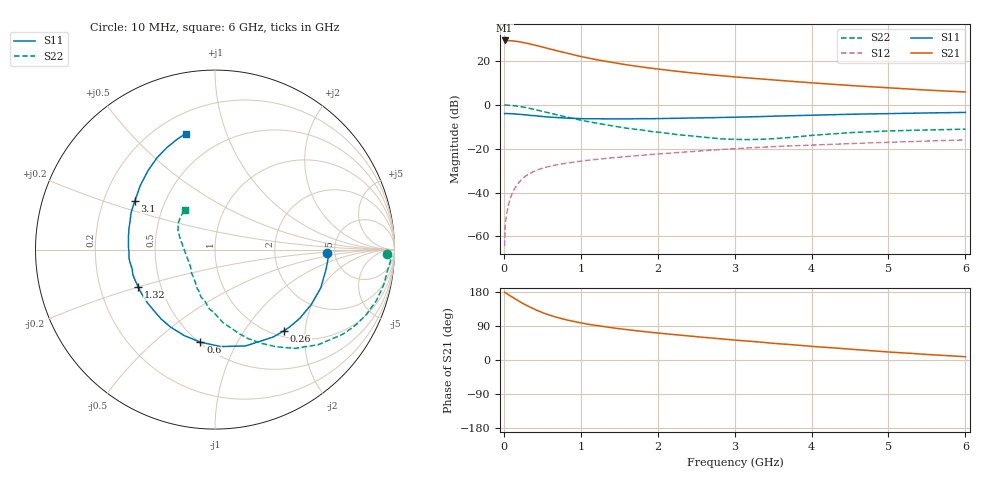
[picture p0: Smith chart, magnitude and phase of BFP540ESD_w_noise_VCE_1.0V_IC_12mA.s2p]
! Infineon Technologies  Discrete & RF Semiconductors
! BFP540ESD
! VCE =  1.0 V,  IC =  12 mA
! Common Emitter S-Parameters:  Nov 2015
# GHz  S  MA  R  50
!  f  S11  S21  S12  S22
! GHz  MAG  ANG  MAG  ANG  MAG  ANG  MAG  ANG
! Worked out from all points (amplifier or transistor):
!   210 points, 10 MHz to 6 GHz, reference 50 ohm
!   highest |S21| = 29.3 dB at 10 MHz (marker M1)
!   |S21| within 3 dB of that: start of sweep to 504.2 MHz
!   unconditionally stable (mu >= 1): start of sweep to 11.18 MHz; 2.517 GHz to end of sweep
!   at 185 MHz: K = 0.13, MSG = 32.3 dB, |S12| = -35.9 dB
!   at 1.52 GHz: K = 0.79, MSG = 21.2 dB, |S12| = -23.8 dB
!   at 6 GHz: K = 1.15, MAG = 8.6 dB, |S12| = -16.0 dB
!   lowest NFmin = 0.93 dB at 900 MHz
!   S11 on the Smith chart (normalised r, x): 10 MHz: 4.33, -0.28; 260 MHz: 1.11, -1.55; 600 MHz: 0.51, -0.72; 1.32 GHz: 0.37, -0.20; 3.1 GHz: 0.34, +0.25; 6 GHz: 0.31, +0.73
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0.01  0.6261 -1.8  29.03 178.5  0.0006 90.4  0.9607 -1.6
0.03  0.6303 -6.3  28.93 176.2  0.0027 84.6  0.9805 -3.4
0.1  0.6268 -20.0  28.59 167.1  0.0089 81.4  0.9601 -11.8
0.15  0.6174 -29.7  28.03 160.8  0.013 78.6  0.9429 -17.6
0.2  0.608 -39.0  27.16 154.7  0.0173 75.5  0.9171 -23.3
0.26  0.5943 -49.5  25.94 147.8  0.0221 71.6  0.8803 -29.6
0.3  0.5847 -56.5  25.14 143.4  0.0248 69.1  0.8532 -33.6
0.4  0.5633 -72.3  22.82 133.6  0.0308 63.1  0.7816 -42.7
0.5  0.5411 -86.7  20.65 124.9  0.0358 58.2  0.7092 -50.9
0.6  0.5219 -99.0  18.48 117.8  0.0397 55.4  0.6408 -57.7
0.7  0.509 -109.6  16.74 111.9  0.0433 52.6  0.5824 -63.7
0.8  0.4976 -119.7  15.09 106.4  0.0461 51.0  0.5289 -69.6
0.9  0.4897 -127.7  13.71 101.9  0.0489 49.3  0.484 -74.3
1.02  0.4802 -136.5  12.31 97.2  0.0525 48.2  0.4372 -79.6
1.32  0.476 -154.0  9.75 87.6  0.0595 45.6  0.3492 -91.4
1.64  0.4758 -168.7  7.892 79.1  0.067 44.3  0.2849 -103.2
2.02  0.4829 177.5  6.417 70.8  0.0756 42.5  0.2359 -115.3
2.6  0.5017 160.6  4.966 59.7  0.0898 39.4  0.1824 -137.0
3.1  0.5228 148.5  4.16 51.1  0.1017 36.2  0.161 -158.1
4.1  0.582 128.5  3.061 34.6  0.1223 28.4  0.2054 161.7
5.1  0.6327 113.8  2.364 19.9  0.1408 20.5  0.2547 142.6
6  0.6668 104.2  1.948 8.6  0.1583 14.2  0.2767 127.6
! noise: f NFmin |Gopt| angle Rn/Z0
0.9  0.93  0.16  -133  0.11
1.8  1.11  0.2  -149  0.1
2.4  1.12  0.2  -146  0.1
3  1.24  0.25  -142  0.11
4  1.35  0.38  -110  0.17
5  1.51  0.47  -91  0.3
6  1.78  0.53  -92  0.49
